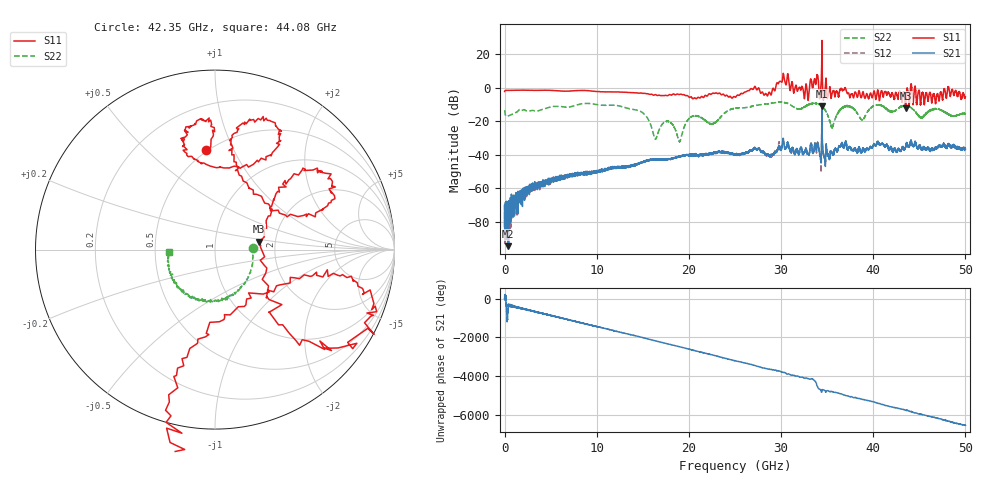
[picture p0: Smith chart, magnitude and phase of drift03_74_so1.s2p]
!Created with skrf (http://scikit-rf.org).
# Hz S RI R 50.0
!freq ReS11 ImS11 ReS21 ImS21 ReS12 ImS12 ReS22 ImS22
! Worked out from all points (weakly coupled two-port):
!   10000 points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, 5.3 MHz to 50 GHz, reference 50 ohm
!   highest |S21| = -10.70 dB at 34.43 GHz (marker M1); lowest = -94.5 dB at 355.3 MHz (marker M2)
!   lowest |S11| = -12.1 dB at 43.51 GHz (marker M3), VSWR 1.66, Z = 82 + j7.87 ohm
!   |S11| at or under -10 dB: 43.48848 GHz to 43.55058 GHz (62.1 MHz wide, 0.143 % of centre); 43.89906 GHz to 43.90183 GHz (2.766 MHz wide, 0.0063 % of centre); 44.70948 GHz to 44.71031 GHz (833.3 kHz wide, 0.00186 % of centre) (the widest 3 of 6)
!   |S22| runs from -32.2 to -8.4 dB; largest |S21 - S12| = 0.093
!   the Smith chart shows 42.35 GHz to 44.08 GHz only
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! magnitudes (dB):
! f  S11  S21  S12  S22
! 5.3 MHz  -2.1  -82.7  -69.5  -13.3
! 355.3 MHz  -1.4  -94.5  -75.0  -16.8
! 2.965 GHz  -1.4  -60.5  -60.0  -13.5
! 8.34 GHz  -1.5  -50.9  -51.0  -9.5
! 14.6 GHz  -3.1  -45.3  -45.2  -13.7
! 16.67 GHz  -4.4  -42.7  -42.7  -26.5
! 17.78 GHz  -4.3  -42.5  -42.4  -20.0
! 19 GHz  -3.9  -41.0  -41.0  -32.2
! 20.3 GHz  -5.6  -40.2  -40.0  -17.1
! 22.57 GHz  -3.1  -39.3  -39.1  -21.3
! 25.01 GHz  -5.5  -39.9  -39.9  -12.1
! 28.72 GHz  -2.5  -40.7  -40.4  -9.4
! 30.14 GHz  4.4  -33.6  -33.9  -8.5
! 33.34 GHz  2.6  -35.1  -35.2  -9.3
! 34.43 GHz  28.4  -10.7  -12.6  -10.8
! 35.53 GHz  -3.4  -38.9  -38.6  -23.4
! 36.96 GHz  0.2  -32.7  -33.1  -10.8
! 38.79 GHz  -4.4  -37.6  -37.9  -19.2
! 40.18 GHz  -3.4  -33.8  -34.1  -10.5
! 41.67 GHz  -2.8  -37.0  -36.8  -13.5
! 43.51 GHz  -12.1  -35.4  -35.0  -10.6
! 50 GHz  -5.2  -36.6  -36.6  -15.6
